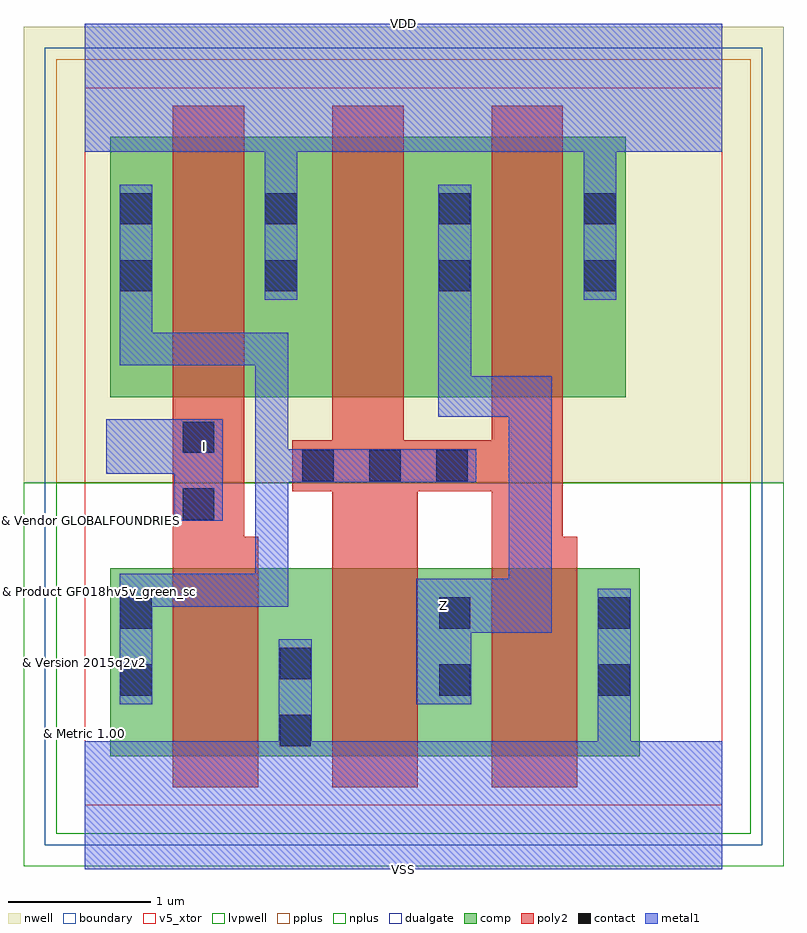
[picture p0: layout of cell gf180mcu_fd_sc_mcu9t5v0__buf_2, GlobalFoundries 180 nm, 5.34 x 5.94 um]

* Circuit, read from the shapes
.subckt gf180mcu_fd_sc_mcu9t5v0__buf_2 I VDD VSS Z
XM1 VSS I n1 VSUBS nfet_05v0 w=1.32u l=0.6u
XM2 Z n1 VSS VSUBS nfet_05v0 w=1.32u l=0.6u m=2
XM3 VDD I n1 n2 pfet_05v0 w=1.83u l=0.5u
XM4 Z n1 VDD n2 pfet_05v0 w=1.83u l=0.5u m=2
.ends

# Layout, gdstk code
import gdstk
lib = gdstk.Library(unit=1e-6, precision=1e-09)
def R(c, l, rs):  # rectangles x0, y0, x1, y1
    for r in rs: c.add(gdstk.rectangle(r[:2], r[2:], *l))
def A(c, l, x, y, w, h, nx, ny, dx, dy):  # array of equal rectangles
    R(c, l, [(x+i*dx, y+j*dy, x+i*dx+w, y+j*dy+h) for i in range(nx) for j in range(ny)])
def P(c, l, *ps):  # polygons
    for p in ps: c.add(gdstk.Polygon(p, *l))
boundary = (0, 0)
nwell = (21, 0)
comp = (22, 0)
poly2 = (30, 0)
pplus = (31, 0)
nplus = (32, 0)
contact = (33, 0)
metal1 = (34, 0)
dualgate = (55, 0)
v5_xtor = (112, 1)
lvpwell = (204, 0)

gf180mcu_fd_sc_mcu9t5v0_ = lib.new_cell('gf180mcu_fd_sc_mcu9t5v0__buf_2')
R(gf180mcu_fd_sc_mcu9t5v0_, boundary, [(0,0,4.48,5.04)])
R(gf180mcu_fd_sc_mcu9t5v0_, nwell, [(-0.43,2.265,4.91,5.47)])
R(gf180mcu_fd_sc_mcu9t5v0_, comp, [(0.18,0.345,3.9,1.665), (0.18,2.865,3.8,4.695)])
P(gf180mcu_fd_sc_mcu9t5v0_, poly2, [(0.62,0.125),(0.62,4.915),(1.12,4.915),(1.12,1.885),(1.22,1.885),(1.22,0.125)],
  [(1.74,0.125),(1.74,2.205),(1.46,2.205),(1.46,2.565),(1.74,2.565),(1.74,4.915),(2.24,4.915),(2.24,2.565),(2.86,2.565),(2.86,4.915),(3.36,4.915),(3.36,1.885),(3.46,1.885),(3.46,0.125),(2.86,0.125),(2.86,2.205),(2.34,2.205),(2.34,0.125)])
R(gf180mcu_fd_sc_mcu9t5v0_, pplus, [(-0.2,2.265,4.68,5.24)])
R(gf180mcu_fd_sc_mcu9t5v0_, nplus, [(-0.2,-0.2,4.68,2.265)])
A(gf180mcu_fd_sc_mcu9t5v0_, contact, 1.53, 2.275, 0.22, 0.22, 3, 1, 0.47, 0)
R(gf180mcu_fd_sc_mcu9t5v0_, contact, [(1.37,0.415,1.59,0.635), (0.25,0.77,0.47,0.99), (2.49,0.77,2.71,0.99), (3.61,0.77,3.83,0.99), (1.37,0.885,1.59,1.105), (0.25,1.24,0.47,1.46), (2.49,1.24,2.71,1.46), (3.61,1.24,3.83,1.46), (0.69,2.005,0.91,2.225), (0.69,2.475,0.91,2.695), (0.25,3.61,0.47,3.83), (1.27,3.61,1.49,3.83), (2.49,3.61,2.71,3.83), (3.51,3.61,3.73,3.83), (0.25,4.08,0.47,4.3), (1.27,4.08,1.49,4.3), (2.49,4.08,2.71,4.3), (3.51,4.08,3.73,4.3)])
P(gf180mcu_fd_sc_mcu9t5v0_, metal1, [(0.63,2),(0.63,2.33),(0.15,2.33),(0.15,2.71),(0.97,2.71),(0.97,2)],
  [(0.245,0.71),(0.245,1.625),(1.2,1.625),(1.2,3.09),(0.245,3.09),(0.245,4.36),(0.475,4.36),(0.475,3.32),(1.43,3.32),(1.43,2.5),(2.75,2.5),(2.75,2.27),(1.43,2.27),(1.43,1.395),(0.475,1.395),(0.475,0.71)],
  [(2.33,0.71),(2.33,1.59),(2.98,1.59),(2.98,2.73),(2.485,2.73),(2.485,4.36),(2.715,4.36),(2.715,3.015),(3.28,3.015),(3.28,1.21),(2.715,1.21),(2.715,0.71)],
  [(0,-0.45),(0,0.45),(1.365,0.45),(1.365,1.165),(1.595,1.165),(1.595,0.45),(3.605,0.45),(3.605,1.52),(3.835,1.52),(3.835,0.45),(4.48,0.45),(4.48,-0.45)],
  [(1.265,3.55),(1.265,4.59),(0,4.59),(0,5.49),(4.48,5.49),(4.48,4.59),(3.735,4.59),(3.735,3.55),(3.505,3.55),(3.505,4.59),(1.495,4.59),(1.495,3.55)])
R(gf180mcu_fd_sc_mcu9t5v0_, dualgate, [(-0.28,-0.28,4.76,5.32)])
R(gf180mcu_fd_sc_mcu9t5v0_, v5_xtor, [(0,0,4.48,5.04)])
R(gf180mcu_fd_sc_mcu9t5v0_, lvpwell, [(-0.43,-0.43,4.91,2.265)])
gf180mcu_fd_sc_mcu9t5v0_.add(gdstk.Label('I', (0.84,2.52), layer=34, texttype=10))
gf180mcu_fd_sc_mcu9t5v0_.add(gdstk.Label('VDD', (2.24,5.49), layer=34, texttype=10))
gf180mcu_fd_sc_mcu9t5v0_.add(gdstk.Label('VSS', (2.24,-0.45), layer=34, texttype=10))
gf180mcu_fd_sc_mcu9t5v0_.add(gdstk.Label('Z', (2.52,1.4), layer=34, texttype=10))
gf180mcu_fd_sc_mcu9t5v0_.add(gdstk.Label('& Vendor GLOBALFOUNDRIES', (0,2), layer=63, texttype=63))
gf180mcu_fd_sc_mcu9t5v0_.add(gdstk.Label('& Product GF018hv5v_green_sc9', (0,1.5), layer=63, texttype=63))
gf180mcu_fd_sc_mcu9t5v0_.add(gdstk.Label('& Version 2015q2v2', (0,1), layer=63, texttype=63))
gf180mcu_fd_sc_mcu9t5v0_.add(gdstk.Label('& Metric 1.00', (0,0.5), layer=63, texttype=63))

lib.write_gds('gf180mcu_fd_sc_mcu9t5v0__buf_2.gds')
